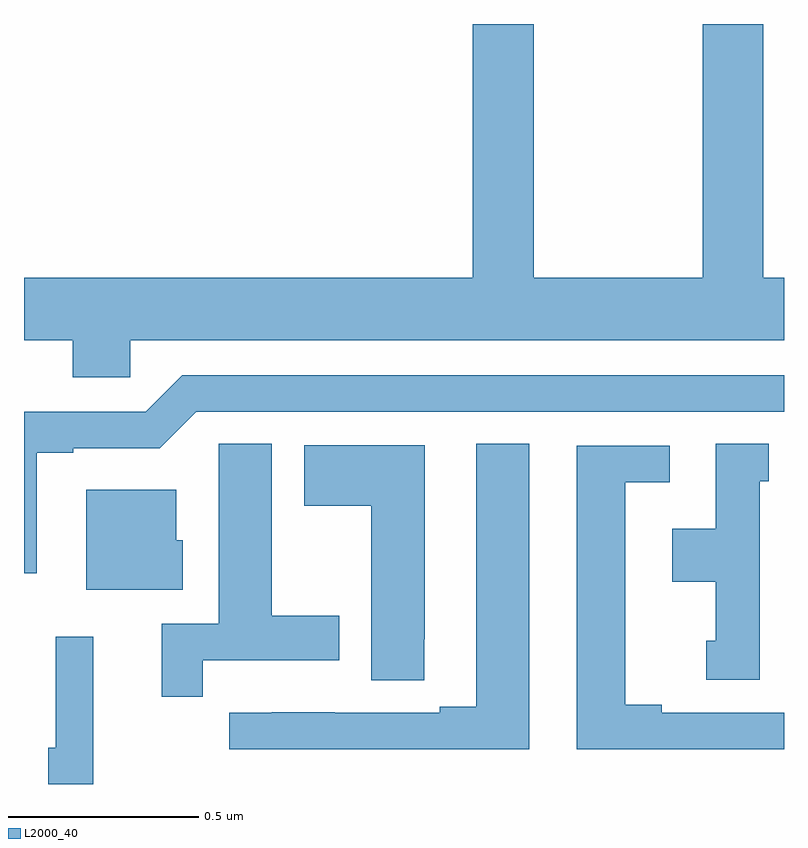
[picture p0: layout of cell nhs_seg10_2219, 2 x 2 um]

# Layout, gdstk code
import gdstk
lib = gdstk.Library(unit=1e-6, precision=1e-09)
def P(c, l, *ps):  # polygons
    for p in ps: c.add(gdstk.Polygon(p, *l))
L2000_40 = (2000, 40)

nhs_seg10_2219 = lib.new_cell('nhs_seg10_2219')
P(nhs_seg10_2219, L2000_40, [(138.279,1281.668),(140,1281.668),(140,1281.832),(139.946,1281.832),(139.946,1282.5),(139.786,1282.5),(139.786,1281.832),(139.341,1281.832),(139.341,1282.5),(139.181,1282.5),(139.181,1281.832),(138,1281.832),(138,1281.668),(138.128,1281.668),(138.128,1281.57),(138.279,1281.57)],
  [(138.034,1281.372),(138.13,1281.372),(138.13,1281.384),(138.357,1281.384),(138.453,1281.48),(140,1281.48),(140,1281.576),(138.417,1281.576),(138.321,1281.48),(138,1281.48),(138,1281.054),(138.034,1281.054)],
  [(139.33,1281.395),(139.19,1281.395),(139.19,1280.703),(139.094,1280.703),(139.094,1280.688),(138.818,1280.688),(138.818,1280.689),(138.652,1280.689),(138.652,1280.688),(138.54,1280.688),(138.54,1280.592),(139.33,1280.592)],
  [(138.47,1280.826),(138.829,1280.826),(138.829,1280.943),(138.652,1280.943),(138.652,1281.395),(138.513,1281.395),(138.513,1281.284),(138.512,1281.284),(138.512,1280.922),(138.362,1280.922),(138.362,1280.73),(138.47,1280.73)],
  [(139.936,1281.297),(139.96,1281.297),(139.96,1281.395),(139.82,1281.395),(139.82,1281.172),(139.706,1281.172),(139.706,1281.032),(139.82,1281.032),(139.82,1280.877),(139.796,1280.877),(139.796,1280.775),(139.936,1280.775)],
  [(139.053,1280.881),(139.054,1280.881),(139.054,1281.391),(138.737,1281.391),(138.737,1281.232),(138.914,1281.232),(138.914,1280.773),(139.053,1280.773)],
  [(140,1280.688),(139.678,1280.688),(139.678,1280.708),(139.582,1280.708),(139.582,1281.294),(139.699,1281.294),(139.699,1281.39),(139.454,1281.39),(139.454,1280.592),(140,1280.592)],
  [(138.418,1281.141),(138.4,1281.141),(138.4,1281.274),(138.164,1281.274),(138.164,1281.011),(138.418,1281.011)],
  [(138.182,1280.887),(138.084,1280.887),(138.084,1280.596),(138.064,1280.596),(138.064,1280.5),(138.182,1280.5)])

lib.write_gds('nhs_seg10_2219.gds')
